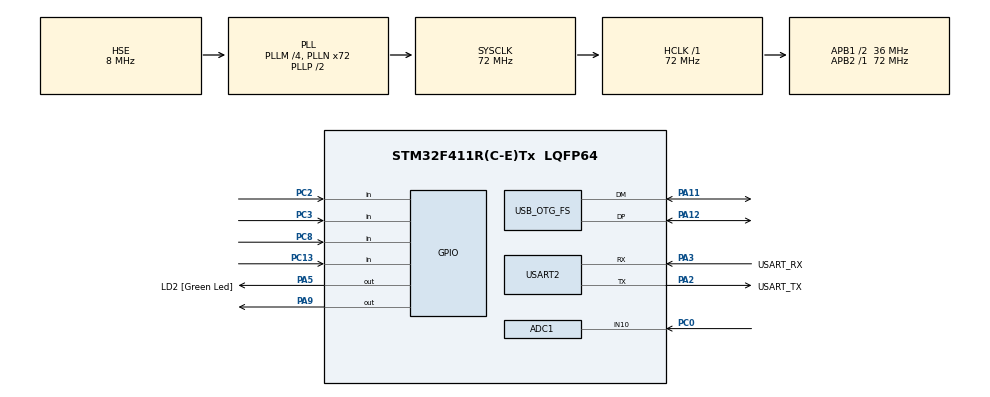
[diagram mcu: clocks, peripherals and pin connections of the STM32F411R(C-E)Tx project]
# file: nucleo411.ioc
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ADC1.Channel-0\#ChannelRegularConversion=ADC_CHANNEL_10
ADC1.NbrOfConversionFlag=1
ADC1.Rank-0\#ChannelRegularConversion=1
ADC1.SamplingTime-0\#ChannelRegularConversion=ADC_SAMPLETIME_3CYCLES
ADC1.master=1
Mcu.Family=STM32F4
Mcu.Name=STM32F411R(C-E)Tx
Mcu.Package=LQFP64
NVIC.OTG_FS_IRQn=true\:0\:0\:false\:false\:true\:true\:true\:true
NVIC.PriorityGroup=NVIC_PRIORITYGROUP_0
PA11.Mode=Device_Only
PA11.Signal=USB_OTG_FS_DM
PA12.Mode=Device_Only
PA12.Signal=USB_OTG_FS_DP
PA13.GPIO_Label=TMS
PA13.Mode=Serial_Wire
PA13.Signal=SYS_JTMS-SWDIO
PA14.GPIO_Label=TCK
PA14.Mode=Serial_Wire
PA14.Signal=SYS_JTCK-SWCLK
PA2.GPIO_Label=USART_TX
PA2.Mode=Asynchronous
PA2.Signal=USART2_TX
PA3.GPIO_Label=USART_RX
PA3.Mode=Asynchronous
PA3.Signal=USART2_RX
PA5.GPIO_Label=LD2 [Green Led]
PA5.Signal=GPIO_Output
PA9.Signal=GPIO_Output
PB3.GPIO_Label=SWO
PB3.Signal=SYS_JTDO-SWO
PC0.Signal=ADCx_IN10
PC13-ANTI_TAMP.Signal=GPIO_Input
PC14-OSC32_IN.Mode=LSE-External-Oscillator
PC14-OSC32_IN.Signal=RCC_OSC32_IN
PC15-OSC32_OUT.Mode=LSE-External-Oscillator
PC15-OSC32_OUT.Signal=RCC_OSC32_OUT
PC2.Signal=GPIO_Input
PC3.GPIO_PuPd=GPIO_PULLUP
PC3.Signal=GPIO_Input
PC8.Signal=GPIO_Input
PH0\ -\ OSC_IN.Mode=HSE-External-Oscillator
PH0\ -\ OSC_IN.Signal=RCC_OSC_IN
PH1\ -\ OSC_OUT.Mode=HSE-External-Oscillator
PH1\ -\ OSC_OUT.Signal=RCC_OSC_OUT
ProjectManager.HeapSize=0x200
ProjectManager.StackSize=0x400
ProjectManager.TargetToolchain=STM32CubeIDE
RCC.48MHZClocksFreq_Value=48000000
RCC.AHBFreq_Value=72000000
RCC.APB1CLKDivider=RCC_HCLK_DIV2
RCC.APB1Freq_Value=36000000
RCC.APB1TimFreq_Value=72000000
RCC.APB2Freq_Value=72000000
RCC.APB2TimFreq_Value=72000000
RCC.CortexFreq_Value=72000000
RCC.FLatency-AdvancedSettings=FLASH_LATENCY_2
RCC.HCLKFreq_Value=72000000
RCC.HSE_VALUE=8000000
RCC.HSI_VALUE=16000000
RCC.PLLM=4
RCC.PLLN=72
RCC.PLLQ=3
RCC.SYSCLKFreq_VALUE=72000000
RCC.SYSCLKSource=RCC_SYSCLKSOURCE_PLLCLK
RCC.VCOOutputFreq_Value=144000000
SH.ADCx_IN10.0=ADC1_IN10,IN10
USART2.VirtualMode=VM_ASYNC
USB_DEVICE.CLASS_NAME_FS=CDC
USB_DEVICE.VirtualMode=Cdc
USB_DEVICE.VirtualModeFS=Cdc_FS
USB_OTG_FS.VirtualMode=Device_Only
VP_USB_DEVICE_VS_USB_DEVICE_CDC_FS.Mode=CDC_FS
board=NUCLEO-F411RE

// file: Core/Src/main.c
/* USER CODE BEGIN Header */
/**
  ******************************************************************************
  * @file           : main.c
  * @brief          : Main program body
  ******************************************************************************
  * @attention
  *
  * Copyright (c) 2026 STMicroelectronics.
  * All rights reserved.
  *
  * This software is licensed under terms that can be found in the LICENSE file
  * in the root directory of this software component.
  * If no LICENSE file comes with this software, it is provided AS-IS.
  *
  ******************************************************************************
  */
/* USER CODE END Header */
#include "main.h"
#include "usb_device.h"

/* USER CODE BEGIN Includes */
#include <stdio.h>
#include "usbd_cdc_if.h"

/* USER CODE END Includes */

/* USER CODE BEGIN PD */

#define USB_BUFLEN 128
/* USER CODE END PD */

ADC_HandleTypeDef hadc1;

UART_HandleTypeDef huart2;

/* USER CODE BEGIN PV */
uint8_t usbTxBuf[USB_BUFLEN];
uint16_t usbTxBufLen;
/* USER CODE END PV */

void SystemClock_Config(void);
static void MX_GPIO_Init(void);
static void MX_USART2_UART_Init(void);
static void MX_ADC1_Init(void);

int main(void)
{

  /* MCU Configuration--------------------------------------------------------*/

  /* Reset of all peripherals, Initializes the Flash interface and the Systick. */
  HAL_Init();

  /* Configure the system clock */
  SystemClock_Config();

  /* Initialize all configured peripherals */
  MX_GPIO_Init();
  MX_USART2_UART_Init();
  MX_USB_DEVICE_Init();
  MX_ADC1_Init();
  /* USER CODE BEGIN 2 */

  const char* midi_command_on = "on\r\n";
  const char* midi_command_off = "off\r\n";
  const char* midi_command_clean = "clean\r\n";
  const char* midi_command_dirty = "dirty\r\n";

  volatile uint16_t ADC_RESULT = 0;
  uint8_t midi_pitch;
  uint8_t last_midi_pitch = 0;
  typedef enum {
	  MIDI_NOTE_OFF		= 0x80,
	  MIDI_NOTE_ON		= 0x90,
	  MIDI_CC 			= 0xB0,
	  MIDI_PITCH_BEND	= 0XE0
  } MidiCommand_t;

  typedef struct {
	  MidiCommand_t cmd;
	  uint8_t data1;
	  uint8_t data2;
  } MidiPacket_t;

  /* USER CODE END 2 */

  /* Infinite loop */
  /* USER CODE BEGIN WHILE */
  while (1)
  {

	  HAL_GPIO_TogglePin(GPIOA, GPIO_PIN_5);
	  HAL_GPIO_TogglePin(GPIOA, GPIO_PIN_9);

	  // ADC Conversion
	  HAL_ADC_Start(&hadc1);
	  HAL_ADC_PollForConversion(&hadc1,1); // 1ms timeout
	  ADC_RESULT = HAL_ADC_GetValue(&hadc1);
	  midi_pitch = (uint32_t)ADC_RESULT * 127 / 4095;

	  if (midi_pitch != last_midi_pitch) {
		  uint16_t len = snprintf((char*)usbTxBuf, sizeof(usbTxBuf), "pitch:%d\r\n", midi_pitch);
		  if (len < USB_BUFLEN) {
		      CDC_Transmit_FS(usbTxBuf, len);
		  }
		  last_midi_pitch = midi_pitch;

	  }

	  // Onboard button pressed, turn on a channel
	  if (HAL_GPIO_ReadPin(GPIOC, GPIO_PIN_13) == GPIO_PIN_RESET) {

		  HAL_Delay(50);

		  uint16_t len = strlen(midi_command_on);
			  if (len < USB_BUFLEN) {
				  memcpy(usbTxBuf, midi_command_on, len);
				  CDC_Transmit_FS(usbTxBuf, len);
			  }

		  while (HAL_GPIO_ReadPin(GPIOC, GPIO_PIN_13) == GPIO_PIN_RESET);

	  }

	  // Onboard button pressed, turn on a channel
	  if (HAL_GPIO_ReadPin(GPIOC, GPIO_PIN_8) == GPIO_PIN_RESET) {

		  HAL_Delay(50);

		  uint16_t len = strlen(midi_command_clean);
			  if (len < USB_BUFLEN) {
				  memcpy(usbTxBuf, midi_command_clean, len);
				  CDC_Transmit_FS(usbTxBuf, len);
			  }

		  while (HAL_GPIO_ReadPin(GPIOC, GPIO_PIN_8) == GPIO_PIN_RESET);

	  }
	  HAL_Delay(10);
	  // Copies data into buffer, returns length of buffer.
	  // usbTxBufLen = snprintf((char *) usbTxBuf, USB_BUFLEN, "%lu\r\n", HAL_GetTick());
	  // CDC_Transmit_FS(usbTxBuf, usbTxBufLen);

/*
	  uint16_t len = strlen(midi_command_on);
	  if (len < USB_BUFLEN) {
		  memcpy(usbTxBuf, midi_command_on, len);
		  CDC_Transmit_FS(usbTxBuf, len);

	  }

	  HAL_Delay(10);
	  uint16_t len_2 = strlen(midi_command_off);
	  if (len_2 < USB_BUFLEN) {
		  memcpy(usbTxBuf, midi_command_off, len_2);
		  CDC_Transmit_FS(usbTxBuf, len_2);

	  }
	  HAL_Delay(10);
*/
    /* USER CODE END WHILE */

  }
}

void SystemClock_Config(void)
{
  RCC_OscInitTypeDef RCC_OscInitStruct = {0};
  RCC_ClkInitTypeDef RCC_ClkInitStruct = {0};

  /** Configure the main internal regulator output voltage
  */
  __HAL_RCC_PWR_CLK_ENABLE();
  __HAL_PWR_VOLTAGESCALING_CONFIG(PWR_REGULATOR_VOLTAGE_SCALE1);

  /** Initializes the RCC Oscillators according to the specified parameters
  * in the RCC_OscInitTypeDef structure.
  */
  RCC_OscInitStruct.OscillatorType = RCC_OSCILLATORTYPE_HSE;
  RCC_OscInitStruct.HSEState = RCC_HSE_ON;
  RCC_OscInitStruct.PLL.PLLState = RCC_PLL_ON;
  RCC_OscInitStruct.PLL.PLLSource = RCC_PLLSOURCE_HSE;
  RCC_OscInitStruct.PLL.PLLM = 4;
  RCC_OscInitStruct.PLL.PLLN = 72;
  RCC_OscInitStruct.PLL.PLLP = RCC_PLLP_DIV2;
  RCC_OscInitStruct.PLL.PLLQ = 3;
  if (HAL_RCC_OscConfig(&RCC_OscInitStruct) != HAL_OK)
  {
    Error_Handler();
  }

  /** Initializes the CPU, AHB and APB buses clocks
  */
  RCC_ClkInitStruct.ClockType = RCC_CLOCKTYPE_HCLK|RCC_CLOCKTYPE_SYSCLK
                              |RCC_CLOCKTYPE_PCLK1|RCC_CLOCKTYPE_PCLK2;
  RCC_ClkInitStruct.SYSCLKSource = RCC_SYSCLKSOURCE_PLLCLK;
  RCC_ClkInitStruct.AHBCLKDivider = RCC_SYSCLK_DIV1;
  RCC_ClkInitStruct.APB1CLKDivider = RCC_HCLK_DIV2;
  RCC_ClkInitStruct.APB2CLKDivider = RCC_HCLK_DIV1;

  if (HAL_RCC_ClockConfig(&RCC_ClkInitStruct, FLASH_LATENCY_2) != HAL_OK)
  {
    Error_Handler();
  }
}

static void MX_ADC1_Init(void)
{

  ADC_ChannelConfTypeDef sConfig = {0};

  /** Configure the global features of the ADC (Clock, Resolution, Data Alignment and number of conversion)
  */
  hadc1.Instance = ADC1;
  hadc1.Init.ClockPrescaler = ADC_CLOCK_SYNC_PCLK_DIV2;
  hadc1.Init.Resolution = ADC_RESOLUTION_12B;
  hadc1.Init.ScanConvMode = DISABLE;
  hadc1.Init.ContinuousConvMode = DISABLE;
  hadc1.Init.DiscontinuousConvMode = DISABLE;
  hadc1.Init.ExternalTrigConvEdge = ADC_EXTERNALTRIGCONVEDGE_NONE;
  hadc1.Init.ExternalTrigConv = ADC_SOFTWARE_START;
  hadc1.Init.DataAlign = ADC_DATAALIGN_RIGHT;
  hadc1.Init.NbrOfConversion = 1;
  hadc1.Init.DMAContinuousRequests = DISABLE;
  hadc1.Init.EOCSelection = ADC_EOC_SINGLE_CONV;
  if (HAL_ADC_Init(&hadc1) != HAL_OK)
  {
    Error_Handler();
  }

  /** Configure for the selected ADC regular channel its corresponding rank in the sequencer and its sample time.
  */
  sConfig.Channel = ADC_CHANNEL_10;
  sConfig.Rank = 1;
  sConfig.SamplingTime = ADC_SAMPLETIME_3CYCLES;
  if (HAL_ADC_ConfigChannel(&hadc1, &sConfig) != HAL_OK)
  {
    Error_Handler();
  }

}

static void MX_USART2_UART_Init(void)
{

  huart2.Instance = USART2;
  huart2.Init.BaudRate = 115200;
  huart2.Init.WordLength = UART_WORDLENGTH_8B;
  huart2.Init.StopBits = UART_STOPBITS_1;
  huart2.Init.Parity = UART_PARITY_NONE;
  huart2.Init.Mode = UART_MODE_TX_RX;
  huart2.Init.HwFlowCtl = UART_HWCONTROL_NONE;
  huart2.Init.OverSampling = UART_OVERSAMPLING_16;
  if (HAL_UART_Init(&huart2) != HAL_OK)
  {
    Error_Handler();
  }

}

static void MX_GPIO_Init(void)
{
  GPIO_InitTypeDef GPIO_InitStruct = {0};

  /* GPIO Ports Clock Enable */
  __HAL_RCC_GPIOC_CLK_ENABLE();
  __HAL_RCC_GPIOH_CLK_ENABLE();
  __HAL_RCC_GPIOA_CLK_ENABLE();
  __HAL_RCC_GPIOB_CLK_ENABLE();

  /*Configure GPIO pin Output Level */
  HAL_GPIO_WritePin(GPIOA, LD2_Pin|GPIO_PIN_9, GPIO_PIN_RESET);

  /*Configure GPIO pins : PC13 PC2 PC8 */
  GPIO_InitStruct.Pin = GPIO_PIN_13|GPIO_PIN_2|GPIO_PIN_8;
  GPIO_InitStruct.Mode = GPIO_MODE_INPUT;
  GPIO_InitStruct.Pull = GPIO_NOPULL;
  HAL_GPIO_Init(GPIOC, &GPIO_InitStruct);

  /*Configure GPIO pin : PC3 */
  GPIO_InitStruct.Pin = GPIO_PIN_3;
  GPIO_InitStruct.Mode = GPIO_MODE_INPUT;
  GPIO_InitStruct.Pull = GPIO_PULLUP;
  HAL_GPIO_Init(GPIOC, &GPIO_InitStruct);

  /*Configure GPIO pins : LD2_Pin PA9 */
  GPIO_InitStruct.Pin = LD2_Pin|GPIO_PIN_9;
  GPIO_InitStruct.Mode = GPIO_MODE_OUTPUT_PP;
  GPIO_InitStruct.Pull = GPIO_NOPULL;
  GPIO_InitStruct.Speed = GPIO_SPEED_FREQ_LOW;
  HAL_GPIO_Init(GPIOA, &GPIO_InitStruct);

}

void Error_Handler(void)
{
  __disable_irq();
  while (1)
  {
  }
}
